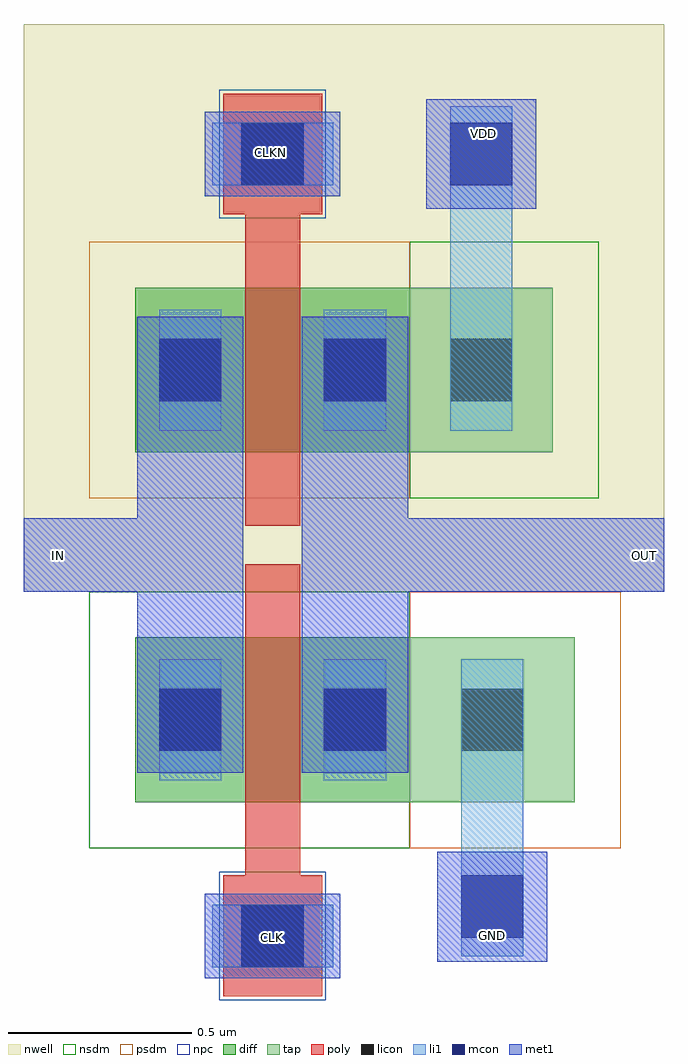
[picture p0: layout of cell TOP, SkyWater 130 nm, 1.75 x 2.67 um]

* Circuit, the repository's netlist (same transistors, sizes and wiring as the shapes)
** sch_path: /foss/designs/RO_Aging_UNICASS/LVT/passgate.sch
**.subckt passgate CLKN IN OUT CLK GND VDD
*.iopin CLKN
*.iopin CLK
*.iopin IN
*.iopin OUT
*.iopin VDD
*.iopin GND
XM1 IN CLK OUT GND sky130_fd_pr__nfet_01v8 L=0.15 W=0.45 nf=1 ad='int((nf+1)/2) * W/nf * 0.29' as='int((nf+2)/2) * W/nf * 0.29' pd='2*int((nf+1)/2) * (W/nf + 0.29)'
+ ps='2*int((nf+2)/2) * (W/nf + 0.29)' nrd='0.29 / W' nrs='0.29 / W' sa=0 sb=0 sd=0 mult=1 m=1
XM2 OUT CLKN IN VDD sky130_fd_pr__pfet_01v8 L=0.15 W=0.45 nf=1 ad='int((nf+1)/2) * W/nf * 0.29' as='int((nf+2)/2) * W/nf * 0.29' pd='2*int((nf+1)/2) * (W/nf + 0.29)'
+ ps='2*int((nf+2)/2) * (W/nf + 0.29)' nrd='0.29 / W' nrs='0.29 / W' sa=0 sb=0 sd=0 mult=1 m=1
**.ends
.end

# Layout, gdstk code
import gdstk
lib = gdstk.Library(unit=1e-6, precision=1e-09)
def R(c, l, rs):  # rectangles x0, y0, x1, y1
    for r in rs: c.add(gdstk.rectangle(r[:2], r[2:], *l))
nwell = (64, 20)
diff = (65, 20)
tap = (65, 44)
poly = (66, 20)
licon = (66, 44)
li1 = (67, 20)
mcon = (67, 44)
met1 = (68, 20)
nsdm = (93, 44)
psdm = (94, 20)
npc = (95, 20)

nfet_1 = lib.new_cell('nfet$1')
R(nfet_1, diff, [(0,0,0.75,0.45)])
R(nfet_1, tap, [(0.75,0,1.2,0.45)])
R(nfet_1, poly, [(0.24,-0.53,0.51,-0.2), (0.3,-0.2,0.45,0.65)])
R(nfet_1, licon, [(0.29,-0.45,0.46,-0.28), (0.065,0.14,0.235,0.31), (0.515,0.14,0.685,0.31), (0.89,0.14,1.06,0.31)])
R(nfet_1, li1, [(0.21,-0.45,0.54,-0.28), (0.065,0.06,0.235,0.39), (0.515,0.06,0.685,0.39), (0.89,0.06,1.06,0.39)])
R(nfet_1, mcon, [(0.29,-0.45,0.46,-0.28), (0.065,0.14,0.235,0.31), (0.515,0.14,0.685,0.31)])
R(nfet_1, met1, [(0.19,-0.48,0.56,-0.25), (0.005,0.08,0.295,0.37), (0.455,0.08,0.745,0.37)])
R(nfet_1, nsdm, [(-0.125,-0.125,0.75,0.575)])
R(nfet_1, psdm, [(0.75,-0.125,1.325,0.575)])
R(nfet_1, npc, [(0.23,-0.54,0.52,-0.19)])

pfet_1 = lib.new_cell('pfet$1')
R(pfet_1, nwell, [(-0.305,-0.38,1.445,1.17)])
R(pfet_1, diff, [(0,0,0.75,0.45)])
R(pfet_1, tap, [(0.75,0,1.14,0.45)])
R(pfet_1, poly, [(0.3,-0.2,0.45,0.65), (0.24,0.65,0.51,0.98)])
R(pfet_1, licon, [(0.065,0.14,0.235,0.31), (0.515,0.14,0.685,0.31), (0.86,0.14,1.03,0.31), (0.29,0.73,0.46,0.9)])
R(pfet_1, li1, [(0.065,0.06,0.235,0.39), (0.515,0.06,0.685,0.39), (0.86,0.06,1.03,0.39), (0.21,0.73,0.54,0.9)])
R(pfet_1, mcon, [(0.065,0.14,0.235,0.31), (0.515,0.14,0.685,0.31), (0.29,0.73,0.46,0.9)])
R(pfet_1, met1, [(0.005,0.08,0.295,0.37), (0.455,0.08,0.745,0.37), (0.19,0.7,0.56,0.93)])
R(pfet_1, nsdm, [(0.75,-0.125,1.265,0.575)])
R(pfet_1, psdm, [(-0.125,-0.125,0.75,0.575)])
R(pfet_1, npc, [(0.23,0.64,0.52,0.99)])

top = lib.new_cell('TOP')
R(top, li1, [(1.2,0.005,1.37,0.565), (1.17,1.77,1.34,2.325)])
R(top, mcon, [(1.2,0.055,1.37,0.225), (1.17,2.11,1.34,2.28)])
R(top, met1, [(1.135,-0.01,1.435,0.29), (0.315,0.795,0.605,1.46), (0.765,0.795,1.055,1.46), (0.005,1,0.315,1.2), (1.055,1,1.755,1.2), (1.105,2.045,1.405,2.345)])
top.add(gdstk.Reference(nfet_1, (0.31,0.425)))
top.add(gdstk.Reference(pfet_1, (0.31,1.38)))
top.add(gdstk.Reference(pfet_1, (0.31,1.38)))
top.add(gdstk.Label('IN', (0.1,1.1), layer=68, texttype=5))
top.add(gdstk.Label('OUT', (1.7,1.1), layer=68, texttype=5))
top.add(gdstk.Label('CLKN', (0.68,2.2), layer=68, texttype=5))
top.add(gdstk.Label('CLK', (0.685,0.055), layer=68, texttype=5))
top.add(gdstk.Label('GND', (1.285,0.06), layer=68, texttype=5))
top.add(gdstk.Label('VDD', (1.26,2.25), layer=68, texttype=5))

lib.write_gds('TOP.gds')
